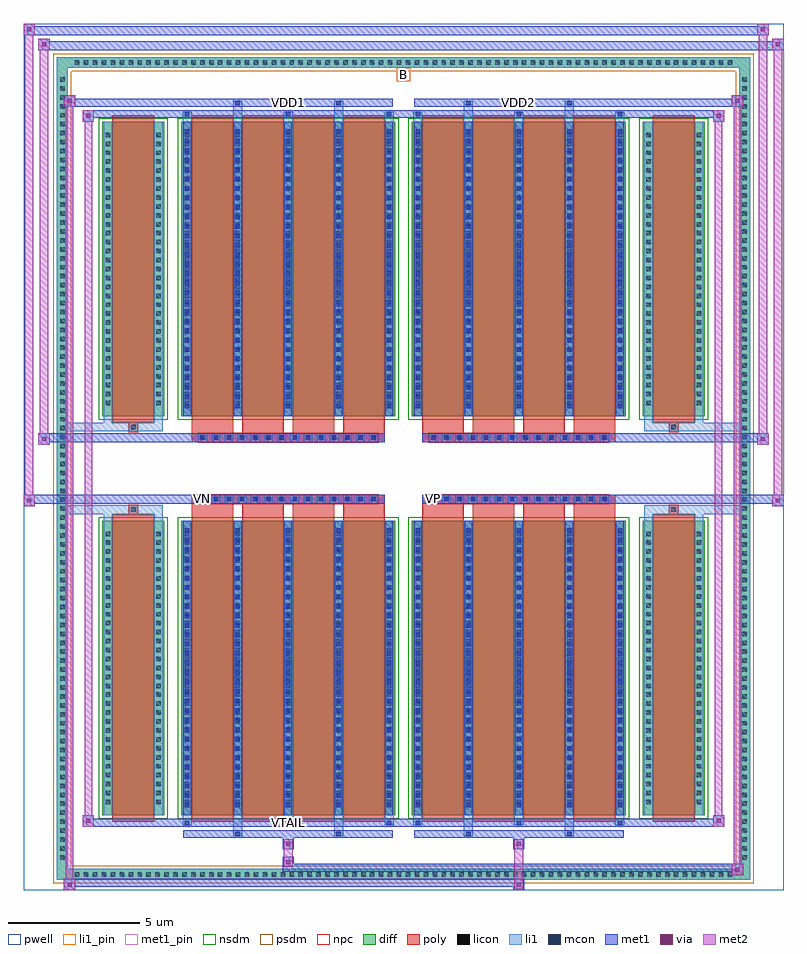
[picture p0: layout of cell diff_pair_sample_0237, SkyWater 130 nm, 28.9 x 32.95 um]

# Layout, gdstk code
import gdstk
lib = gdstk.Library(unit=1e-6, precision=5e-09)
def R(c, l, rs):  # rectangles x0, y0, x1, y1
    for r in rs: c.add(gdstk.rectangle(r[:2], r[2:], *l))
def A(c, l, x, y, w, h, nx, ny, dx, dy):  # array of equal rectangles
    R(c, l, [(x+i*dx, y+j*dy, x+i*dx+w, y+j*dy+h) for i in range(nx) for j in range(ny)])
def P(c, l, *ps):  # polygons
    for p in ps: c.add(gdstk.Polygon(p, *l))
pwell = (64, 44)
diff = (65, 20)
poly = (66, 20)
licon = (66, 44)
li1_pin = (67, 16)
li1 = (67, 20)
mcon = (67, 44)
met1_pin = (68, 16)
met1 = (68, 20)
via = (68, 44)
met2 = (69, 20)
nsdm = (93, 44)
psdm = (94, 20)
npc = (95, 20)

diff_pair_sample_0237 = lib.new_cell('diff_pair_sample_0237')
R(diff_pair_sample_0237, pwell, [(-14.45,-16.04,14.45,16.91), (-11.77,-14.23,-0.01,-0.805), (0.01,-14.23,11.77,-0.805), (-11.77,0.805,-0.01,14.23), (0.01,0.805,11.77,14.23)])
A(diff_pair_sample_0237, diff, -12.615, -15.64, 0.41, 0.41, 74, 2, 0.34, 30.87)
A(diff_pair_sample_0237, diff, -13.18, -14.995, 0.41, 0.41, 1, 88, 0, 0.34)
A(diff_pair_sample_0237, diff, 12.77, -14.995, 0.41, 0.41, 1, 88, 0, 0.34)
R(diff_pair_sample_0237, diff, [(-12.615,-15.64,12.615,-15.23), (-13.18,-14.995,-12.77,14.995), (12.77,-14.995,13.18,14.995), (-11.46,-13.185,-9.09,-1.985), (-8.45,-13.185,-0.32,-1.985), (0.32,-13.185,8.45,-1.985), (9.09,-13.185,11.46,-1.985), (-11.46,1.985,-9.09,13.185), (-8.45,1.985,-0.32,13.185), (0.32,1.985,8.45,13.185), (9.09,1.985,11.46,13.185), (-12.615,15.23,12.615,15.64)])
P(diff_pair_sample_0237, diff, [(13.18,15.64),(-13.18,15.64),(-13.18,-15.23),(-12.77,-15.23),(-12.77,15.23),(12.77,15.23),(12.77,-15.23),(-12.77,-15.23),(-13.18,-15.23),(-13.18,-15.64),(13.18,-15.64)])
A(diff_pair_sample_0237, poly, -8.06, -13.435, 1.59, 11.7, 4, 2, 1.92, 15.17)
A(diff_pair_sample_0237, poly, 0.71, -13.435, 1.59, 11.7, 4, 2, 1.92, 15.17)
A(diff_pair_sample_0237, poly, -8.06, -1.735, 1.59, 0.4, 4, 2, 1.92, 3.07)
A(diff_pair_sample_0237, poly, 0.71, -1.735, 1.59, 0.4, 4, 2, 1.92, 3.07)
A(diff_pair_sample_0237, poly, -7.8, -1.335, 0.33, 0.33, 14, 2, 0.5, 2.34)
A(diff_pair_sample_0237, poly, 0.97, -1.335, 0.33, 0.33, 14, 2, 0.5, 2.34)
R(diff_pair_sample_0237, poly, [(-11.07,-13.435,-9.48,-1.735), (9.48,-13.435,11.07,-1.735), (-10.44,-1.735,-10.11,-1.405), (-10.44,-1.735,-10.11,-1.405), (10.11,-1.735,10.44,-1.405), (10.11,-1.735,10.44,-1.405), (-8.06,-1.335,-0.71,-1.005), (0.71,-1.335,8.06,-1.005), (-8.06,1.005,-0.71,1.335), (0.71,1.005,8.06,1.335), (-10.44,1.405,-10.11,1.735), (-10.44,1.405,-10.11,1.735), (10.11,1.405,10.44,1.735), (10.11,1.405,10.44,1.735), (-11.07,1.735,-9.48,13.435), (9.48,1.735,11.07,13.435)])
A(diff_pair_sample_0237, licon, -12.495, -15.52, 0.17, 0.17, 74, 2, 0.34, 30.87)
A(diff_pair_sample_0237, licon, -13.06, -14.875, 0.17, 0.17, 1, 88, 0, 0.34)
A(diff_pair_sample_0237, licon, 12.89, -14.875, 0.17, 0.17, 1, 88, 0, 0.34)
A(diff_pair_sample_0237, licon, -11.32, -12.77, 0.17, 0.17, 1, 31, 0, 0.34)
A(diff_pair_sample_0237, licon, -9.4, -12.77, 0.17, 0.17, 1, 31, 0, 0.34)
A(diff_pair_sample_0237, licon, -8.31, -12.77, 0.17, 0.17, 5, 31, 1.92, 0.34)
A(diff_pair_sample_0237, licon, 0.46, -12.77, 0.17, 0.17, 5, 31, 1.92, 0.34)
A(diff_pair_sample_0237, licon, 9.23, -12.77, 0.17, 0.17, 1, 31, 0, 0.34)
A(diff_pair_sample_0237, licon, 11.15, -12.77, 0.17, 0.17, 1, 31, 0, 0.34)
A(diff_pair_sample_0237, licon, -7.72, -1.255, 0.17, 0.17, 14, 2, 0.5, 2.34)
A(diff_pair_sample_0237, licon, 1.05, -1.255, 0.17, 0.17, 14, 2, 0.5, 2.34)
A(diff_pair_sample_0237, licon, -11.32, 2.4, 0.17, 0.17, 1, 31, 0, 0.34)
A(diff_pair_sample_0237, licon, -9.4, 2.4, 0.17, 0.17, 1, 31, 0, 0.34)
A(diff_pair_sample_0237, licon, -8.31, 2.4, 0.17, 0.17, 5, 31, 1.92, 0.34)
A(diff_pair_sample_0237, licon, 0.46, 2.4, 0.17, 0.17, 5, 31, 1.92, 0.34)
A(diff_pair_sample_0237, licon, 9.23, 2.4, 0.17, 0.17, 1, 31, 0, 0.34)
A(diff_pair_sample_0237, licon, 11.15, 2.4, 0.17, 0.17, 1, 31, 0, 0.34)
R(diff_pair_sample_0237, licon, [(-10.36,-1.655,-10.19,-1.485), (10.19,-1.655,10.36,-1.485), (-10.36,1.485,-10.19,1.655), (10.19,1.485,10.36,1.655)])
R(diff_pair_sample_0237, li1_pin, [(-0.25,14.73,0.25,15.23)])
A(diff_pair_sample_0237, li1, -12.575, -15.6, 0.33, 0.33, 74, 2, 0.34, 30.87)
A(diff_pair_sample_0237, li1, -13.14, -14.955, 0.33, 0.33, 1, 88, 0, 0.34)
A(diff_pair_sample_0237, li1, 12.81, -14.955, 0.33, 0.33, 1, 88, 0, 0.34)
A(diff_pair_sample_0237, li1, -8.39, -13.56, 0.33, 0.375, 3, 2, 3.84, 26.745)
A(diff_pair_sample_0237, li1, -8.31, -13.56, 0.17, 0.17, 3, 2, 3.84, 26.95)
A(diff_pair_sample_0237, li1, 0.38, -13.56, 0.33, 0.375, 3, 2, 3.84, 26.745)
A(diff_pair_sample_0237, li1, 0.46, -13.56, 0.17, 0.17, 3, 2, 3.84, 26.95)
A(diff_pair_sample_0237, li1, -8.39, -13.185, 0.33, 11.2, 5, 2, 1.92, 15.17)
A(diff_pair_sample_0237, li1, 0.38, -13.185, 0.33, 11.2, 5, 2, 1.92, 15.17)
A(diff_pair_sample_0237, li1, -8.31, -12.89, 0.17, 0.17, 5, 30, 1.92, 0.36)
A(diff_pair_sample_0237, li1, -8.31, -12.89, 0.17, 10.61, 5, 2, 1.92, 15.17)
A(diff_pair_sample_0237, li1, 0.46, -12.89, 0.17, 0.17, 5, 30, 1.92, 0.36)
A(diff_pair_sample_0237, li1, 0.46, -12.89, 0.17, 10.61, 5, 2, 1.92, 15.17)
A(diff_pair_sample_0237, li1, -11.4, -12.85, 0.33, 0.33, 1, 31, 0, 0.34)
A(diff_pair_sample_0237, li1, -9.48, -12.85, 0.33, 0.33, 1, 31, 0, 0.34)
A(diff_pair_sample_0237, li1, -8.39, -12.85, 0.33, 0.33, 5, 31, 1.92, 0.34)
A(diff_pair_sample_0237, li1, 0.38, -12.85, 0.33, 0.33, 5, 31, 1.92, 0.34)
A(diff_pair_sample_0237, li1, 9.15, -12.85, 0.33, 0.33, 1, 31, 0, 0.34)
A(diff_pair_sample_0237, li1, 11.07, -12.85, 0.33, 0.33, 1, 31, 0, 0.34)
A(diff_pair_sample_0237, li1, -7.8, -1.335, 0.33, 0.33, 14, 2, 0.5, 2.34)
A(diff_pair_sample_0237, li1, 0.97, -1.335, 0.33, 0.33, 14, 2, 0.5, 2.34)
A(diff_pair_sample_0237, li1, -8.31, 2.28, 0.17, 0.17, 5, 30, 1.92, 0.36)
A(diff_pair_sample_0237, li1, 0.46, 2.28, 0.17, 0.17, 5, 30, 1.92, 0.36)
A(diff_pair_sample_0237, li1, -11.4, 2.32, 0.33, 0.33, 1, 31, 0, 0.34)
A(diff_pair_sample_0237, li1, -9.48, 2.32, 0.33, 0.33, 1, 31, 0, 0.34)
A(diff_pair_sample_0237, li1, -8.39, 2.32, 0.33, 0.33, 5, 31, 1.92, 0.34)
A(diff_pair_sample_0237, li1, 0.38, 2.32, 0.33, 0.33, 5, 31, 1.92, 0.34)
A(diff_pair_sample_0237, li1, 9.15, 2.32, 0.33, 0.33, 1, 31, 0, 0.34)
A(diff_pair_sample_0237, li1, 11.07, 2.32, 0.33, 0.33, 1, 31, 0, 0.34)
R(diff_pair_sample_0237, li1, [(-13.18,-15.64,-12.77,-15.23), (-13.18,-15.64,-12.77,-15.23), (-12.77,-15.64,12.77,-15.23), (12.77,-15.64,13.18,-15.23), (12.77,-15.64,13.18,-15.23), (-13.18,-15.23,-12.77,15.23), (12.77,-15.23,13.18,15.23), (-6.47,-13.99,-6.14,-13.185), (-6.39,-13.99,-6.22,-13.82), (-2.63,-13.99,-2.3,-13.185), (-2.55,-13.99,-2.38,-13.82), (2.3,-13.99,2.63,-13.185), (2.38,-13.99,2.55,-13.82), (6.14,-13.99,6.47,-13.185), (6.22,-13.99,6.39,-13.82), (-11.4,-13.185,-11.07,-1.985), (-9.48,-13.185,-9.15,-1.985), (9.15,-13.185,9.48,-1.985), (11.07,-13.185,11.4,-1.985), (-11.4,-1.985,-11.07,-1.405), (-9.48,-1.985,-9.15,-1.405), (9.15,-1.985,9.48,-1.405), (11.07,-1.985,11.4,-1.405), (-13.18,-1.735,-10.44,-1.405), (-11.4,-1.735,-10.44,-1.405), (-10.44,-1.735,-10.11,-1.405), (-10.11,-1.735,-9.15,-1.405), (9.15,-1.735,10.11,-1.405), (10.11,-1.735,10.44,-1.405), (10.11,-1.735,13.18,-1.405), (10.44,-1.735,11.4,-1.405), (-13.18,1.405,-10.44,1.735), (-11.4,1.405,-10.44,1.735), (-11.4,1.405,-11.07,1.985), (-10.44,1.405,-10.11,1.735), (-10.11,1.405,-9.15,1.735), (-9.48,1.405,-9.15,1.985), (9.15,1.405,10.11,1.735), (9.15,1.405,9.48,1.985), (10.11,1.405,10.44,1.735), (10.11,1.405,13.18,1.735), (10.44,1.405,11.4,1.735), (11.07,1.405,11.4,1.985), (-11.4,1.985,-11.07,13.185), (-9.48,1.985,-9.15,13.185), (9.15,1.985,9.48,13.185), (11.07,1.985,11.4,13.185), (-6.47,13.185,-6.14,13.99), (-2.63,13.185,-2.3,13.99), (2.3,13.185,2.63,13.99), (6.14,13.185,6.47,13.99), (-6.39,13.82,-6.22,13.99), (-2.55,13.82,-2.38,13.99), (2.38,13.82,2.55,13.99), (6.22,13.82,6.39,13.99), (-13.18,15.23,-12.77,15.64), (-13.18,15.23,-12.77,15.64), (-12.77,15.23,12.77,15.64), (12.77,15.23,13.18,15.64), (12.77,15.23,13.18,15.64)])
A(diff_pair_sample_0237, mcon, -8.31, -13.56, 0.17, 0.17, 3, 2, 3.84, 26.95)
A(diff_pair_sample_0237, mcon, 0.46, -13.56, 0.17, 0.17, 3, 2, 3.84, 26.95)
A(diff_pair_sample_0237, mcon, -8.31, -12.89, 0.17, 0.17, 5, 30, 1.92, 0.36)
A(diff_pair_sample_0237, mcon, 0.46, -12.89, 0.17, 0.17, 5, 30, 1.92, 0.36)
A(diff_pair_sample_0237, mcon, -7.72, -1.255, 0.17, 0.17, 14, 2, 0.5, 2.34)
A(diff_pair_sample_0237, mcon, 1.05, -1.255, 0.17, 0.17, 14, 2, 0.5, 2.34)
A(diff_pair_sample_0237, mcon, -8.31, 2.28, 0.17, 0.17, 5, 30, 1.92, 0.36)
A(diff_pair_sample_0237, mcon, 0.46, 2.28, 0.17, 0.17, 5, 30, 1.92, 0.36)
R(diff_pair_sample_0237, mcon, [(-6.39,-13.99,-6.22,-13.82), (-2.55,-13.99,-2.38,-13.82), (2.38,-13.99,2.55,-13.82), (6.22,-13.99,6.39,-13.82), (-6.39,13.82,-6.22,13.99), (-2.55,13.82,-2.38,13.99), (2.38,13.82,2.55,13.99), (6.22,13.82,6.39,13.99)])
R(diff_pair_sample_0237, met1_pin, [(-4.52,-13.6,-4.25,-13.33), (-7.77,-1.295,-7.5,-1.025), (1,-1.295,1.27,-1.025), (-4.52,13.78,-4.25,14.05), (4.25,13.78,4.52,14.05)])
A(diff_pair_sample_0237, met1, -8.37, -13.62, 0.29, 0.29, 3, 2, 3.84, 26.95)
A(diff_pair_sample_0237, met1, 0.4, -13.62, 0.29, 0.29, 3, 2, 3.84, 26.95)
A(diff_pair_sample_0237, met1, -8.37, -13.185, 0.29, 11.2, 5, 2, 1.92, 15.17)
A(diff_pair_sample_0237, met1, 0.4, -13.185, 0.29, 11.2, 5, 2, 1.92, 15.17)
A(diff_pair_sample_0237, met1, -8.37, -12.95, 0.29, 0.29, 5, 30, 1.92, 0.36)
A(diff_pair_sample_0237, met1, 0.4, -12.95, 0.29, 0.29, 5, 30, 1.92, 0.36)
A(diff_pair_sample_0237, met1, -7.78, -1.315, 0.29, 0.29, 14, 2, 0.5, 2.34)
A(diff_pair_sample_0237, met1, 0.99, -1.315, 0.29, 0.29, 14, 2, 0.5, 2.34)
A(diff_pair_sample_0237, met1, -8.37, 2.22, 0.29, 0.29, 5, 30, 1.92, 0.36)
A(diff_pair_sample_0237, met1, 0.4, 2.22, 0.29, 0.29, 5, 30, 1.92, 0.36)
R(diff_pair_sample_0237, met1, [(-12.91,-16.04,-12.48,-15.61), (4.17,-16.04,4.6,-15.61), (-12.91,-15.9,4.6,-15.61), (12.48,-15.47,12.91,-15.04), (-4.6,-15.33,12.91,-15.04), (-4.6,-15.19,-4.17,-14.76), (-4.6,-14.48,-4.17,-14.05), (4.17,-14.48,4.6,-14.05), (-8.37,-14.05,-0.4,-13.76), (-6.45,-14.05,-6.16,-13.76), (-2.61,-14.05,-2.32,-13.76), (0.4,-14.05,8.37,-13.76), (2.32,-14.05,2.61,-13.76), (6.16,-14.05,6.45,-13.76), (-12.2,-13.62,-11.77,-13.19), (-12.2,-13.62,-8.37,-13.33), (-8.37,-13.62,-0.4,-13.33), (-0.4,-13.62,0.4,-13.33), (0.4,-13.62,8.37,-13.33), (8.37,-13.62,12.2,-13.33), (11.77,-13.62,12.2,-13.19), (-14.45,-1.435,-14.02,-1.005), (14.02,-1.435,14.45,-1.005), (-14.45,-1.335,-0.71,-1.005), (-8.06,-1.335,-0.71,-1.005), (0.71,-1.335,8.06,-1.005), (0.71,-1.335,14.45,-1.005), (-13.88,0.905,-13.45,1.335), (13.45,0.905,13.88,1.335), (-13.88,1.005,-8.06,1.335), (-8.06,1.005,-0.71,1.335), (0.71,1.005,8.06,1.335), (8.06,1.005,13.88,1.335), (-12.2,13.19,-11.77,13.62), (11.77,13.19,12.2,13.62), (-12.2,13.33,-8.37,13.62), (-8.37,13.33,-0.4,13.62), (-0.4,13.33,0.4,13.62), (0.4,13.33,8.37,13.62), (8.37,13.33,12.2,13.62), (-12.91,13.76,-12.48,14.19), (-12.91,13.76,-8.37,14.05), (-8.37,13.76,-0.4,14.05), (-6.45,13.76,-6.16,14.05), (-2.61,13.76,-2.32,14.05), (0.4,13.76,8.37,14.05), (2.32,13.76,2.61,14.05), (6.16,13.76,6.45,14.05), (8.37,13.76,12.91,14.05), (12.48,13.76,12.91,14.19), (-13.88,15.91,-13.45,16.34), (-13.88,15.91,-11.77,16.24), (-11.77,15.91,11.77,16.24), (11.77,15.91,14.45,16.24), (14.02,15.91,14.45,16.34), (-14.45,16.48,-14.02,16.91), (-14.45,16.48,-11.77,16.81), (-11.77,16.48,11.77,16.81), (11.77,16.48,13.88,16.81), (13.45,16.48,13.88,16.91)])
R(diff_pair_sample_0237, via, [(-12.77,-15.9,-12.62,-15.75), (4.31,-15.9,4.46,-15.75), (12.62,-15.33,12.77,-15.18), (-4.46,-15.05,-4.31,-14.9), (-4.46,-14.34,-4.31,-14.19), (4.31,-14.34,4.46,-14.19), (-12.06,-13.48,-11.91,-13.33), (11.91,-13.48,12.06,-13.33), (-14.31,-1.295,-14.16,-1.145), (14.16,-1.295,14.31,-1.145), (-13.74,1.045,-13.59,1.195), (13.59,1.045,13.74,1.195), (-12.06,13.33,-11.91,13.48), (11.91,13.33,12.06,13.48), (-12.77,13.9,-12.62,14.05), (12.62,13.9,12.77,14.05), (-13.74,16.05,-13.59,16.2), (14.16,16.05,14.31,16.2), (-14.31,16.62,-14.16,16.77), (13.59,16.62,13.74,16.77)])
R(diff_pair_sample_0237, met2, [(-12.91,-16.04,-12.48,-15.61), (-12.84,-16.04,-12.55,14.19), (-12.55,-16.04,-12.48,-15.61), (-12.86,-15.99,-12.53,-15.66), (4.22,-15.99,4.55,-15.66), (4.22,-15.66,4.55,-14.43), (12.48,-15.47,12.91,-15.04), (12.55,-15.47,12.84,14.19), (12.84,-15.47,12.91,-15.04), (12.53,-15.42,12.86,-15.09), (-4.55,-15.14,-4.22,-14.81), (-4.55,-14.81,-4.22,-14.43), (-4.55,-14.43,-4.22,-14.1), (4.22,-14.43,4.55,-14.1), (-12.2,-13.62,-11.77,-13.19), (-12.13,-13.62,-11.84,13.62), (-11.84,-13.62,-11.77,-13.19), (11.77,-13.62,12.2,-13.19), (11.84,-13.62,12.13,13.62), (12.13,-13.62,12.2,-13.19), (-12.15,-13.57,-11.82,-13.24), (11.82,-13.57,12.15,-13.24), (-14.45,-1.435,-14.02,-1.005), (-14.4,-1.435,-14.07,16.91), (-14.07,-1.435,-14.02,-1.005), (14.02,-1.435,14.45,-1.005), (14.07,-1.435,14.4,16.34), (14.4,-1.435,14.45,-1.005), (-14.4,-1.385,-14.07,-1.055), (14.07,-1.385,14.4,-1.055), (-13.88,0.905,-13.45,1.335), (-13.83,0.905,-13.5,16.34), (-13.5,0.905,-13.45,1.335), (13.45,0.905,13.88,1.335), (13.5,0.905,13.83,16.91), (13.83,0.905,13.88,1.335), (-13.83,0.955,-13.5,1.285), (13.5,0.955,13.83,1.285), (-12.2,13.19,-11.77,13.62), (-11.84,13.19,-11.77,13.62), (11.77,13.19,12.2,13.62), (12.13,13.19,12.2,13.62), (-12.15,13.24,-11.82,13.57), (11.82,13.24,12.15,13.57), (-12.91,13.76,-12.48,14.19), (-12.55,13.76,-12.48,14.19), (12.48,13.76,12.91,14.19), (12.84,13.76,12.91,14.19), (-12.86,13.81,-12.53,14.14), (12.53,13.81,12.86,14.14), (-13.88,15.91,-13.45,16.34), (-13.5,15.91,-13.45,16.34), (14.02,15.91,14.45,16.34), (14.4,15.91,14.45,16.34), (-13.83,15.96,-13.5,16.29), (14.07,15.96,14.4,16.29), (-14.45,16.48,-14.02,16.91), (-14.07,16.48,-14.02,16.91), (13.45,16.48,13.88,16.91), (13.83,16.48,13.88,16.91), (-14.4,16.53,-14.07,16.86), (13.5,16.53,13.83,16.86)])
R(diff_pair_sample_0237, nsdm, [(-11.59,-13.315,-8.96,-1.855), (-8.58,-13.315,-0.19,-1.855), (0.19,-13.315,8.58,-1.855), (8.96,-13.315,11.59,-1.855), (-11.59,1.855,-8.96,13.315), (-8.58,1.855,-0.19,13.315), (0.19,1.855,8.58,13.315), (8.96,1.855,11.59,13.315)])
P(diff_pair_sample_0237, psdm, [(13.31,15.77),(-13.31,15.77),(-13.31,-15.1),(-12.64,-15.1),(-12.64,15.1),(12.64,15.1),(12.64,-15.1),(-12.64,-15.1),(-13.31,-15.1),(-13.31,-15.77),(13.31,-15.77)])
A(diff_pair_sample_0237, npc, -7.82, -1.355, 0.37, 0.37, 14, 2, 0.5, 2.34)
A(diff_pair_sample_0237, npc, 0.95, -1.355, 0.37, 0.37, 14, 2, 0.5, 2.34)
R(diff_pair_sample_0237, npc, [(-10.46,-1.755,-10.09,-1.385), (10.09,-1.755,10.46,-1.385), (-7.82,-1.355,-6.95,-0.985), (-7.82,-1.355,-6.95,-0.985), (-7.32,-1.355,-6.45,-0.985), (-7.32,-1.355,-6.45,-0.985), (-6.82,-1.355,-5.95,-0.985), (-6.82,-1.355,-5.95,-0.985), (-6.32,-1.355,-5.45,-0.985), (-6.32,-1.355,-5.45,-0.985), (-5.82,-1.355,-4.95,-0.985), (-5.82,-1.355,-4.95,-0.985), (-5.32,-1.355,-4.45,-0.985), (-5.32,-1.355,-4.45,-0.985), (-4.82,-1.355,-3.95,-0.985), (-4.82,-1.355,-3.95,-0.985), (-4.32,-1.355,-3.45,-0.985), (-4.32,-1.355,-3.45,-0.985), (-3.82,-1.355,-2.95,-0.985), (-3.82,-1.355,-2.95,-0.985), (-3.32,-1.355,-2.45,-0.985), (-3.32,-1.355,-2.45,-0.985), (-2.82,-1.355,-1.95,-0.985), (-2.82,-1.355,-1.95,-0.985), (-2.32,-1.355,-1.45,-0.985), (-2.32,-1.355,-1.45,-0.985), (-1.82,-1.355,-0.95,-0.985), (-1.82,-1.355,-0.95,-0.985), (0.95,-1.355,1.82,-0.985), (0.95,-1.355,1.82,-0.985), (1.45,-1.355,2.32,-0.985), (1.45,-1.355,2.32,-0.985), (1.95,-1.355,2.82,-0.985), (1.95,-1.355,2.82,-0.985), (2.45,-1.355,3.32,-0.985), (2.45,-1.355,3.32,-0.985), (2.95,-1.355,3.82,-0.985), (2.95,-1.355,3.82,-0.985), (3.45,-1.355,4.32,-0.985), (3.45,-1.355,4.32,-0.985), (3.95,-1.355,4.82,-0.985), (3.95,-1.355,4.82,-0.985), (4.45,-1.355,5.32,-0.985), (4.45,-1.355,5.32,-0.985), (4.95,-1.355,5.82,-0.985), (4.95,-1.355,5.82,-0.985), (5.45,-1.355,6.32,-0.985), (5.45,-1.355,6.32,-0.985), (5.95,-1.355,6.82,-0.985), (5.95,-1.355,6.82,-0.985), (6.45,-1.355,7.32,-0.985), (6.45,-1.355,7.32,-0.985), (6.95,-1.355,7.82,-0.985), (6.95,-1.355,7.82,-0.985), (-7.82,0.985,-6.95,1.355), (-7.82,0.985,-6.95,1.355), (-7.32,0.985,-6.45,1.355), (-7.32,0.985,-6.45,1.355), (-6.82,0.985,-5.95,1.355), (-6.82,0.985,-5.95,1.355), (-6.32,0.985,-5.45,1.355), (-6.32,0.985,-5.45,1.355), (-5.82,0.985,-4.95,1.355), (-5.82,0.985,-4.95,1.355), (-5.32,0.985,-4.45,1.355), (-5.32,0.985,-4.45,1.355), (-4.82,0.985,-3.95,1.355), (-4.82,0.985,-3.95,1.355), (-4.32,0.985,-3.45,1.355), (-4.32,0.985,-3.45,1.355), (-3.82,0.985,-2.95,1.355), (-3.82,0.985,-2.95,1.355), (-3.32,0.985,-2.45,1.355), (-3.32,0.985,-2.45,1.355), (-2.82,0.985,-1.95,1.355), (-2.82,0.985,-1.95,1.355), (-2.32,0.985,-1.45,1.355), (-2.32,0.985,-1.45,1.355), (-1.82,0.985,-0.95,1.355), (-1.82,0.985,-0.95,1.355), (0.95,0.985,1.82,1.355), (0.95,0.985,1.82,1.355), (1.45,0.985,2.32,1.355), (1.45,0.985,2.32,1.355), (1.95,0.985,2.82,1.355), (1.95,0.985,2.82,1.355), (2.45,0.985,3.32,1.355), (2.45,0.985,3.32,1.355), (2.95,0.985,3.82,1.355), (2.95,0.985,3.82,1.355), (3.45,0.985,4.32,1.355), (3.45,0.985,4.32,1.355), (3.95,0.985,4.82,1.355), (3.95,0.985,4.82,1.355), (4.45,0.985,5.32,1.355), (4.45,0.985,5.32,1.355), (4.95,0.985,5.82,1.355), (4.95,0.985,5.82,1.355), (5.45,0.985,6.32,1.355), (5.45,0.985,6.32,1.355), (5.95,0.985,6.82,1.355), (5.95,0.985,6.82,1.355), (6.45,0.985,7.32,1.355), (6.45,0.985,7.32,1.355), (6.95,0.985,7.82,1.355), (6.95,0.985,7.82,1.355), (-10.46,1.385,-10.09,1.755), (10.09,1.385,10.46,1.755)])
diff_pair_sample_0237.add(gdstk.Label('VTAIL', (-4.385,-13.465), layer=68, texttype=5))
diff_pair_sample_0237.add(gdstk.Label('VN', (-7.635,-1.16), layer=68, texttype=5))
diff_pair_sample_0237.add(gdstk.Label('VP', (1.135,-1.16), layer=68, texttype=5))
diff_pair_sample_0237.add(gdstk.Label('B', (0,14.98), layer=67, texttype=5))
diff_pair_sample_0237.add(gdstk.Label('VDD2', (4.385,13.915), layer=68, texttype=5))
diff_pair_sample_0237.add(gdstk.Label('VDD1', (-4.385,13.915), layer=68, texttype=5))

lib.write_gds('diff_pair_sample_0237.gds')
